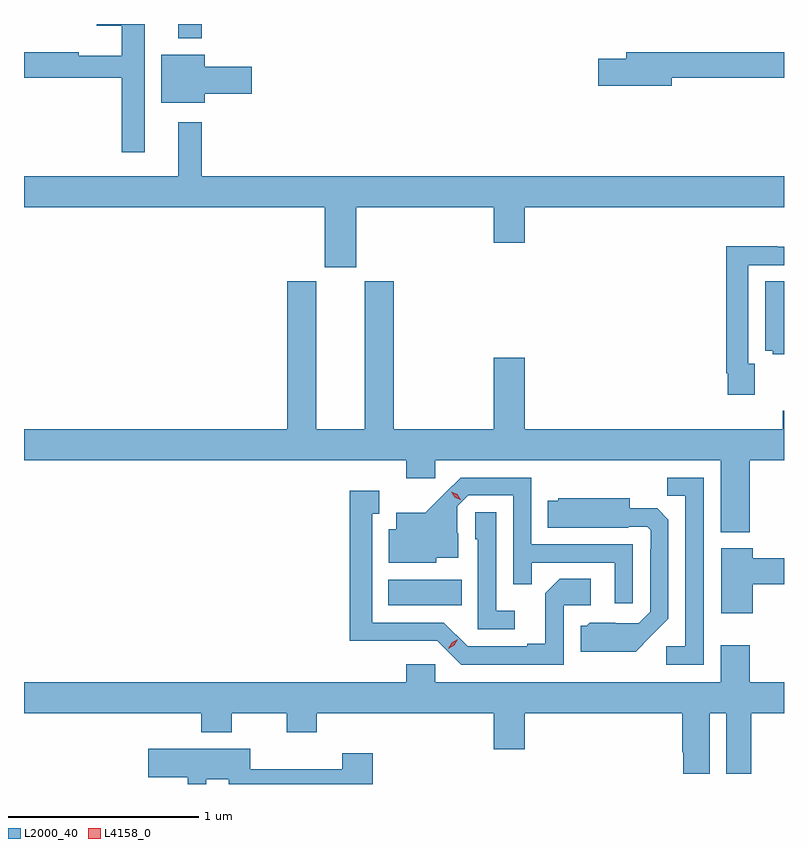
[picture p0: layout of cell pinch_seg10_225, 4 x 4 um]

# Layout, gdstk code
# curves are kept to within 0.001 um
import gdstk
lib = gdstk.Library(unit=1e-6, precision=1e-09)
def R(c, l, rs):  # rectangles x0, y0, x1, y1
    for r in rs: c.add(gdstk.rectangle(r[:2], r[2:], *l))
def P(c, l, *ps):  # polygons
    for p in ps: c.add(gdstk.Polygon(p, *l))
L2000_40 = (2000, 40)
L4158_0 = (4158, 0)

pinch_seg10_225 = lib.new_cell('pinch_seg10_225')
R(pinch_seg10_225, L2000_40, [(619.997,1310.21,620.384,1310.344), (618.893,1313.192,619.015,1313.268)])
P(pinch_seg10_225, L2000_40, [(618.715,1313.268),(618.464,1313.268),(618.464,1313.258),(618.594,1313.258),(618.594,1313.101),(618.368,1313.101),(618.368,1313.12),(618.08,1313.12),(618.08,1312.984),(618.594,1312.984),(618.594,1312.593),(618.715,1312.593)],
  [(621.49,1312.984),(622.08,1312.984),(622.08,1313.12),(621.251,1313.12),(621.251,1313.084),(621.102,1313.084),(621.102,1312.942),(621.49,1312.942)],
  [(619.03,1312.9),(619.279,1312.9),(619.279,1313.042),(619.03,1313.042),(619.03,1313.107),(618.803,1313.107),(618.803,1312.853),(619.03,1312.853)],
  [(619.828,1312.304),(620.552,1312.304),(620.552,1312.116),(620.716,1312.116),(620.716,1312.304),(622.08,1312.304),(622.08,1312.468),(619.015,1312.468),(619.015,1312.75),(618.893,1312.75),(618.893,1312.468),(618.08,1312.468),(618.08,1312.304),(619.664,1312.304),(619.664,1311.987),(619.828,1311.987)],
  [(621.925,1311.479),(621.891,1311.479),(621.891,1311.999),(622.08,1311.999),(622.08,1312.095),(622.045,1312.095),(622.045,1312.099),(621.775,1312.099),(621.775,1311.43),(621.783,1311.43),(621.783,1311.318),(621.925,1311.318)],
  [(621.899,1310.972),(622.08,1310.972),(622.08,1311.232),(622.073,1311.232),(622.073,1311.136),(620.716,1311.136),(620.716,1311.511),(620.552,1311.511),(620.552,1311.136),(620.027,1311.136),(620.027,1311.915),(619.874,1311.915),(619.874,1311.136),(619.618,1311.136),(619.618,1311.915),(619.466,1311.915),(619.466,1311.136),(618.08,1311.136),(618.08,1310.972),(620.093,1310.972),(620.093,1310.877),(620.244,1310.877),(620.244,1310.972),(621.746,1310.972),(621.746,1310.594),(621.899,1310.594)],
  [(622.08,1311.914),(621.98,1311.914),(621.98,1311.548),(622.02,1311.548),(622.02,1311.53),(622.08,1311.53)],
  [(621.657,1310.88),(621.466,1310.88),(621.466,1310.785),(621.561,1310.785),(621.561,1309.992),(621.459,1309.992),(621.459,1309.896),(621.657,1309.896)],
  [(621.285,1310.529),(620.751,1310.529),(620.751,1310.88),(620.378,1310.88),(620.191,1310.695),(620.039,1310.695),(620.039,1310.608),(620,1310.608),(620,1310.432),(620.25,1310.432),(620.25,1310.459),(620.365,1310.459),(620.365,1310.588),(620.361,1310.588),(620.361,1310.73),(620.418,1310.787),(620.655,1310.787),(620.655,1310.32),(620.753,1310.32),(620.753,1310.433),(621.189,1310.433),(621.189,1310.22),(621.285,1310.22)],
  [(620.922,1310.208),(621.064,1310.208),(621.064,1310.348),(620.899,1310.348),(620.823,1310.272),(620.823,1310.005),(620.729,1310.005),(620.729,1309.992),(620.415,1309.992),(620.289,1310.118),(619.912,1310.118),(619.912,1310.691),(619.951,1310.691),(619.951,1310.812),(619.794,1310.812),(619.794,1310.021),(620.256,1310.022),(620.382,1309.896),(620.922,1309.896)],
  [(621.379,1310.045),(621.471,1310.138),(621.471,1310.66),(621.412,1310.719),(621.268,1310.719),(621.268,1310.773),(620.892,1310.773),(620.892,1310.758),(620.836,1310.758),(620.836,1310.618),(621.26,1310.618),(621.26,1310.622),(621.36,1310.622),(621.378,1310.604),(621.378,1310.504),(621.375,1310.504),(621.375,1310.175),(621.315,1310.115),(621.058,1310.116),(621.042,1310.1),(621.011,1310.1),(621.011,1309.964),(621.299,1309.964)],
  [(620.662,1310.179),(620.565,1310.179),(620.565,1310.699),(620.454,1310.699),(620.454,1310.556),(620.469,1310.556),(620.469,1310.082),(620.662,1310.082)],
  [(621.916,1310.32),(622.08,1310.32),(622.08,1310.456),(621.916,1310.456),(621.916,1310.509),(621.749,1310.509),(621.749,1310.166),(621.916,1310.166)],
  [(621.688,1309.64),(621.776,1309.64),(621.776,1309.323),(621.907,1309.323),(621.907,1309.64),(622.08,1309.64),(622.08,1309.804),(621.899,1309.804),(621.899,1309.999),(621.746,1309.999),(621.746,1309.804),(620.244,1309.804),(620.244,1309.897),(620.093,1309.897),(620.093,1309.804),(618.08,1309.804),(618.08,1309.64),(619.013,1309.64),(619.013,1309.541),(619.173,1309.541),(619.173,1309.64),(619.462,1309.64),(619.462,1309.541),(619.622,1309.541),(619.622,1309.64),(620.552,1309.64),(620.552,1309.452),(620.716,1309.452),(620.716,1309.64),(621.545,1309.64),(621.545,1309.435),(621.551,1309.435),(621.551,1309.323),(621.688,1309.323)],
  [(619.038,1309.292),(619.157,1309.292),(619.157,1309.268),(619.916,1309.268),(619.916,1309.429),(619.756,1309.429),(619.756,1309.346),(619.27,1309.346),(619.27,1309.453),(618.735,1309.453),(618.735,1309.304),(618.942,1309.304),(618.942,1309.268),(619.038,1309.268)])
P(pinch_seg10_225, L4158_0, [(620.377,1310.763),(620.346,1310.778),(620.328,1310.807),(620.328,1310.807),(620.329,1310.807),(620.36,1310.792),(620.378,1310.763),(620.378,1310.763)],
  [(620.313,1309.98),(620.313,1309.98),(620.331,1310.012),(620.362,1310.031),(620.362,1310.031),(620.362,1310.031),(620.345,1309.999),(620.313,1309.98)])

lib.write_gds('pinch_seg10_225.gds')
